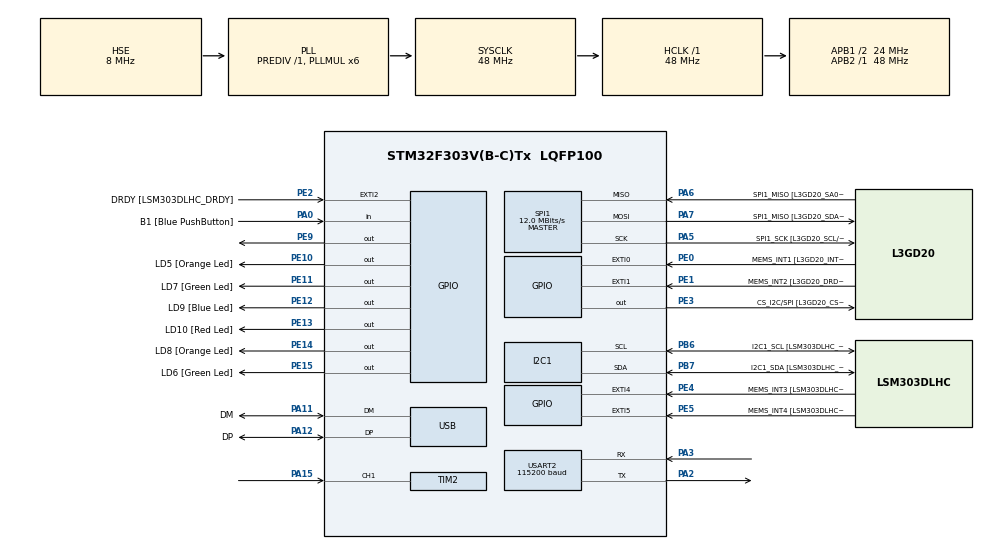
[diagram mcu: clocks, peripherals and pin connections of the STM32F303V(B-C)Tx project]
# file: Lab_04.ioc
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I2C1.Timing=0x00201D2B
I2C1.Timing-I2C=0x2000090E
Mcu.Family=STM32F3
Mcu.Name=STM32F303V(B-C)Tx
Mcu.Package=LQFP100
NVIC.PriorityGroup=NVIC_PRIORITYGROUP_0
NVIC.TIM2_IRQn=true\:0\:0\:false\:false\:true\:true\:true\:true
PA0.GPIO_Label=B1 [Blue PushButton]
PA0.Signal=GPIO_Input
PA11.GPIO_Label=DM
PA11.Mode=Device
PA11.Signal=USB_DM
PA12.GPIO_Label=DP
PA12.Mode=Device
PA12.Signal=USB_DP
PA13.GPIO_Label=SWDIO
PA13.Mode=Serial_Wire
PA13.Signal=SYS_JTMS-SWDIO
PA14.GPIO_Label=SWCLK
PA14.Mode=Serial_Wire
PA14.Signal=SYS_JTCK-SWCLK
PA15.Signal=S_TIM2_CH1_ETR
PA2.Mode=Asynchronous
PA2.Signal=USART2_TX
PA3.Mode=Asynchronous
PA3.Signal=USART2_RX
PA5.GPIO_Label=SPI1_SCK [L3GD20_SCL/SPC]
PA5.Mode=Full_Duplex_Master
PA5.Signal=SPI1_SCK
PA6.GPIO_Label=SPI1_MISO [L3GD20_SA0/SDO]
PA6.Mode=Full_Duplex_Master
PA6.Signal=SPI1_MISO
PA7.GPIO_Label=SPI1_MISO [L3GD20_SDA/SDI/SDO]
PA7.Mode=Full_Duplex_Master
PA7.Signal=SPI1_MOSI
PB3.GPIO_Label=SWO
PB3.Signal=SYS_JTDO-TRACESWO
PB6.GPIO_Label=I2C1_SCL [LSM303DLHC_SCL]
PB6.GPIO_Pu=GPIO_PULLUP
PB6.Mode=I2C
PB6.Signal=I2C1_SCL
PB7.GPIO_Label=I2C1_SDA [LSM303DLHC_SDA]
PB7.GPIO_Pu=GPIO_PULLUP
PB7.Mode=I2C
PB7.Signal=I2C1_SDA
PC14-OSC32_IN.GPIO_Label=OSC32_IN
PC14-OSC32_IN.Signal=RCC_OSC32_IN
PC15-OSC32_OUT.GPIO_Label=OSC32_OUT
PC15-OSC32_OUT.Signal=RCC_OSC32_OUT
PE0.GPIO_Label=MEMS_INT1 [L3GD20_INT1]
PE0.GPIO_ModeDefaultEXTI=GPIO_MODE_EVT_RISING
PE0.Signal=GPXTI0
PE1.GPIO_Label=MEMS_INT2 [L3GD20_DRDY/INT2]
PE1.GPIO_ModeDefaultEXTI=GPIO_MODE_EVT_RISING
PE1.Signal=GPXTI1
PE10.GPIO_Label=LD5 [Orange Led]
PE10.Signal=GPIO_Output
PE11.GPIO_Label=LD7 [Green Led]
PE11.Signal=GPIO_Output
PE12.GPIO_Label=LD9 [Blue Led]
PE12.Signal=GPIO_Output
PE13.GPIO_Label=LD10 [Red Led]
PE13.Signal=GPIO_Output
PE14.GPIO_Label=LD8 [Orange Led]
PE14.Signal=GPIO_Output
PE15.GPIO_Label=LD6 [Green Led]
PE15.Signal=GPIO_Output
PE2.GPIO_Label=DRDY [LSM303DLHC_DRDY]
PE2.GPIO_ModeDefaultEXTI=GPIO_MODE_EVT_RISING
PE2.Signal=GPXTI2
PE3.GPIO_Label=CS_I2C/SPI [L3GD20_CS_I2C/SPI]
PE3.Signal=GPIO_Output
PE4.GPIO_Label=MEMS_INT3 [LSM303DLHC_INT1]
PE4.GPIO_ModeDefaultEXTI=GPIO_MODE_EVT_RISING
PE4.Signal=GPXTI4
PE5.GPIO_Label=MEMS_INT4 [LSM303DLHC_INT2]
PE5.GPIO_ModeDefaultEXTI=GPIO_MODE_EVT_RISING
PE5.Signal=GPXTI5
PE9.Signal=GPIO_Output
PF0-OSC_IN.GPIO_Label=OSC_IN
PF0-OSC_IN.Mode=HSE-External-Clock-Source
PF0-OSC_IN.Signal=RCC_OSC_IN
PF1-OSC_OUT.GPIO_Label=OSC_OUT
PF1-OSC_OUT.Signal=RCC_OSC_OUT
ProjectManager.HeapSize=0x200
ProjectManager.StackSize=0x400
ProjectManager.TargetToolchain=CMake
RCC.AHBFreq_Value=48000000
RCC.APB1CLKDivider=RCC_HCLK_DIV2
RCC.APB1Freq_Value=24000000
RCC.APB1TimFreq_Value=48000000
RCC.APB2Freq_Value=48000000
RCC.APB2TimFreq_Value=48000000
RCC.CortexFreq_Value=48000000
RCC.HCLKFreq_Value=48000000
RCC.HSE_VALUE=8000000
RCC.HSI_VALUE=8000000
RCC.LSE_VALUE=32768
RCC.PLLMUL=RCC_PLL_MUL6
RCC.SYSCLKFreq_VALUE=48000000
RCC.SYSCLKSourceVirtual=RCC_SYSCLKSOURCE_PLLCLK
RCC.USBFreq_Value=48000000
SH.S_TIM2_CH1_ETR.0=TIM2_CH1,Input_Capture1_from_TI1
SPI1.BaudRatePrescaler=SPI_BAUDRATEPRESCALER_4
SPI1.BaudRatePrescaler-Full_Duplex_Master=SPI_BAUDRATEPRESCALER_2
SPI1.CalculateBaudRate=12.0 MBits/s
SPI1.CalculateBaudRate-Full_Duplex_Master=24.0 MBits/s
SPI1.Direction=SPI_DIRECTION_2LINES
SPI1.Mode=SPI_MODE_MASTER
SPI1.Mode-Full_Duplex_Master=SPI_MODE_MASTER
SPI1.VirtualType=VM_MASTER
TIM2.Channel-Input_Capture1_from_TI1=TIM_CHANNEL_1
TIM2.Period=65535
TIM2.Prescaler=47
USART2.BaudRate=115200
USART2.VirtualMode-Asynchronous=VM_ASYNC
VP_TIM2_VS_ClockSourceINT.Mode=Internal
board=STM32F3DISCOVERY

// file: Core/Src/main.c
/* USER CODE BEGIN Header */
/**
  ******************************************************************************
  * @file           : main.c
  * @brief          : Main program body
  ******************************************************************************
  * @attention
  *
  * Copyright (c) 2026 STMicroelectronics.
  * All rights reserved.
  *
  * This software is licensed under terms that can be found in the LICENSE file
  * in the root directory of this software component.
  * If no LICENSE file comes with this software, it is provided AS-IS.
  *
  ******************************************************************************
  */
/* USER CODE END Header */
#include "main.h"
#include <stdio.h>
#include <string.h>
#include <stdarg.h>   // va_list, va_start, va_end

I2C_HandleTypeDef hi2c1;

SPI_HandleTypeDef hspi1;

TIM_HandleTypeDef htim2;

UART_HandleTypeDef huart2;

PCD_HandleTypeDef hpcd_USB_FS;

/* USER CODE BEGIN PV */
extern TIM_HandleTypeDef htim2;
extern UART_HandleTypeDef huart2;   // <-- change if your UART is different

volatile uint32_t last_capture = 0;
volatile uint32_t period_ticks = 0;
volatile float frequency_hz = 0.0f;

#define TIM2_TICK_HZ 1000000UL      // PSC=47 at 48MHz -> 1MHz tick (1 us)

/* USER CODE END PV */

void SystemClock_Config(void);
static void MX_GPIO_Init(void);
static void MX_I2C1_Init(void);
static void MX_SPI1_Init(void);
static void MX_TIM2_Init(void);
static void MX_USB_PCD_Init(void);
static void MX_USART2_UART_Init(void);

/* USER CODE BEGIN 0 */
void myprintf(const char *fmt, ...)
{
  char buffer[128];                 // message buffer
  va_list args;                     // holds variable arguments
  va_start(args, fmt);              // start reading arguments after fmt

  int n = vsnprintf(buffer, sizeof(buffer), fmt, args);
  // vsnprintf writes formatted text into buffer and returns number of chars

  va_end(args);                     // done reading variable arguments

  if (n < 0)
  {
    return;                         // formatting error
  }

  // IMPORTANT: send only the actual message length (not sizeof(buffer))
  // If n is larger than buffer, clamp to buffer size - 1
  if (n > (int)sizeof(buffer) - 1)
  {
    n = (int)sizeof(buffer) - 1;
  }

  HAL_UART_Transmit(&huart2, (uint8_t*)buffer, (uint16_t)n, HAL_MAX_DELAY);
  // transmit formatted string via USART2
}

/* USER CODE END 0 */

//TASK 1----------------------------------------------------------------------------------------------------------
// void delay_ms_tim2(uint32_t ms)
// {
//  __HAL_TIM_SET_COUNTER(&htim2, 0);          // CNT = 0 (start counting from zero)
//  HAL_TIM_Base_Start(&htim2);               // start TIM2 counting (polling, no IRQ)

//  while (__HAL_TIM_GET_COUNTER(&htim2) < ms) // wait until CNT reaches ms
//  {
//               // do nothing (busy wait / polling)
//  }

//  HAL_TIM_Base_Stop(&htim2);                // stop TIM2 to save power (optional)
// }

//TASK 2----------------------------------------------------------------------------------------------------------
// void HAL_TIM_PeriodElapsedCallback(TIM_HandleTypeDef *htim)
// {
//  // Check that the interrupt is from TIM2 (important if multiple timers exist)
//  if (htim->Instance == TIM2)
//  {
//    HAL_GPIO_TogglePin(LD9_GPIO_Port, LD9_Pin);
//    // Toggle LED pin (LD9) every 1 second
//  }
// }

//TASK 3----------------------------------------------------------------------------------------------------------

// void HAL_TIM_PeriodElapsedCallback(TIM_HandleTypeDef *htim)
// {
//  if (htim->Instance == TIM2)
//  {
//    countA++;
//    countB++;
//    countC++;

//    // LED A → 500 ms (1 Hz blink)
//    if (countA >= 500)
//    {
//      HAL_GPIO_TogglePin(LD5_GPIO_Port, LD5_Pin);
//      countA = 0;
//    }

//    // LED B → 200 ms (2.5 Hz blink)
//    if (countB >= 200)
//    {
//      HAL_GPIO_TogglePin(LD9_GPIO_Port, LD9_Pin);
//      countB = 0;
//    }

//    // LED C → 100 ms (5 Hz blink)
//    if (countC >= 100)
//    {
//      HAL_GPIO_TogglePin(LD7_GPIO_Port, LD7_Pin);
//      countC = 0;
//    }
//  }
// }

// extern TIM_HandleTypeDef htim2;

// /* Software counters (in milliseconds) */
// volatile uint32_t countA = 0;
// volatile uint32_t countB = 0;
// volatile uint32_t countC = 0;

//TASK 4----------------------------------------------------------------------------------------------------------
void HAL_TIM_IC_CaptureCallback(TIM_HandleTypeDef *htim)
{
  // confirm this event is from TIM2 and Channel 1
  if (htim->Instance == TIM2 && htim->Channel == HAL_TIM_ACTIVE_CHANNEL_1)
  {
    uint32_t current_capture = HAL_TIM_ReadCapturedValue(htim, TIM_CHANNEL_1);
    // CCR1 contains the timer count value captured at the edge

    // Compute period in ticks with overflow handling
    if (current_capture >= last_capture)
    {
      period_ticks = current_capture - last_capture;
    }
    else
    {
      // Timer wrapped around from ARR to 0 between edges
      period_ticks = (htim->Instance->ARR + 1U - last_capture) + current_capture;
    }

    last_capture = current_capture;

    // Convert ticks -> frequency
    // frequency = tick_hz / period_ticks
    if (period_ticks != 0)
    {
      frequency_hz = (float)TIM2_TICK_HZ / (float)period_ticks;
    }
  }
}

int main(void)
{

  /* MCU Configuration--------------------------------------------------------*/

  /* Reset of all peripherals, Initializes the Flash interface and the Systick. */
  HAL_Init();

  /* Configure the system clock */
  SystemClock_Config();

  /* Initialize all configured peripherals */
  MX_GPIO_Init();
  MX_I2C1_Init();
  MX_SPI1_Init();
  MX_TIM2_Init();
  MX_USB_PCD_Init();
  MX_USART2_UART_Init();

  /* Infinite loop */
  /* USER CODE BEGIN WHILE */

  //TASK 2-------------------------------------------------------------------------------------------------------------------
  //HAL_TIM_Base_Start_IT(&htim2);
  //TASK 4-------------------------------------------------------------------------------------------------------------------
  HAL_TIM_IC_Start_IT(&htim2, TIM_CHANNEL_1);

  while (1)
  {
    //TASK 1------------------------------------------------------------------------------------------------------------------
    // HAL_GPIO_TogglePin(LD9_GPIO_Port, LD9_Pin); // flip LED state (ON->OFF, OFF->ON)
    // delay_ms_tim2(1000);                        // wait 1000 ms = 1 second using TIM2

    //TASK 4------------------------------------------------------------------------------------------------------------------
    // /Copy volatile values to local variables (safer for printing)
    uint32_t p = period_ticks;
    uint32_t  f = frequency_hz;

    // Print results over UART2
    // period is in microseconds because tick = 1 us
    myprintf("Period = %lu us, Frequency = %.2lu Hz\r\n", p, f);

    HAL_Delay(200); // print 5 times per second
  }

  }

  /* USER CODE END 3 */
void SystemClock_Config(void)
{
  RCC_OscInitTypeDef RCC_OscInitStruct = {0};
  RCC_ClkInitTypeDef RCC_ClkInitStruct = {0};
  RCC_PeriphCLKInitTypeDef PeriphClkInit = {0};

  /** Initializes the RCC Oscillators according to the specified parameters
  * in the RCC_OscInitTypeDef structure.
  */
  RCC_OscInitStruct.OscillatorType = RCC_OSCILLATORTYPE_HSI|RCC_OSCILLATORTYPE_HSE;
  RCC_OscInitStruct.HSEState = RCC_HSE_BYPASS;
  RCC_OscInitStruct.HSEPredivValue = RCC_HSE_PREDIV_DIV1;
  RCC_OscInitStruct.HSIState = RCC_HSI_ON;
  RCC_OscInitStruct.HSICalibrationValue = RCC_HSICALIBRATION_DEFAULT;
  RCC_OscInitStruct.PLL.PLLState = RCC_PLL_ON;
  RCC_OscInitStruct.PLL.PLLSource = RCC_PLLSOURCE_HSE;
  RCC_OscInitStruct.PLL.PLLMUL = RCC_PLL_MUL6;
  if (HAL_RCC_OscConfig(&RCC_OscInitStruct) != HAL_OK)
  {
    Error_Handler();
  }

  /** Initializes the CPU, AHB and APB buses clocks
  */
  RCC_ClkInitStruct.ClockType = RCC_CLOCKTYPE_HCLK|RCC_CLOCKTYPE_SYSCLK
                              |RCC_CLOCKTYPE_PCLK1|RCC_CLOCKTYPE_PCLK2;
  RCC_ClkInitStruct.SYSCLKSource = RCC_SYSCLKSOURCE_PLLCLK;
  RCC_ClkInitStruct.AHBCLKDivider = RCC_SYSCLK_DIV1;
  RCC_ClkInitStruct.APB1CLKDivider = RCC_HCLK_DIV2;
  RCC_ClkInitStruct.APB2CLKDivider = RCC_HCLK_DIV1;

  if (HAL_RCC_ClockConfig(&RCC_ClkInitStruct, FLASH_LATENCY_1) != HAL_OK)
  {
    Error_Handler();
  }
  PeriphClkInit.PeriphClockSelection = RCC_PERIPHCLK_USB|RCC_PERIPHCLK_USART2
                              |RCC_PERIPHCLK_I2C1;
  PeriphClkInit.Usart2ClockSelection = RCC_USART2CLKSOURCE_PCLK1;
  PeriphClkInit.I2c1ClockSelection = RCC_I2C1CLKSOURCE_HSI;
  PeriphClkInit.USBClockSelection = RCC_USBCLKSOURCE_PLL;
  if (HAL_RCCEx_PeriphCLKConfig(&PeriphClkInit) != HAL_OK)
  {
    Error_Handler();
  }
}

static void MX_I2C1_Init(void)
{

  hi2c1.Instance = I2C1;
  hi2c1.Init.Timing = 0x00201D2B;
  hi2c1.Init.OwnAddress1 = 0;
  hi2c1.Init.AddressingMode = I2C_ADDRESSINGMODE_7BIT;
  hi2c1.Init.DualAddressMode = I2C_DUALADDRESS_DISABLE;
  hi2c1.Init.OwnAddress2 = 0;
  hi2c1.Init.OwnAddress2Masks = I2C_OA2_NOMASK;
  hi2c1.Init.GeneralCallMode = I2C_GENERALCALL_DISABLE;
  hi2c1.Init.NoStretchMode = I2C_NOSTRETCH_DISABLE;
  if (HAL_I2C_Init(&hi2c1) != HAL_OK)
  {
    Error_Handler();
  }

  /** Configure Analogue filter
  */
  if (HAL_I2CEx_ConfigAnalogFilter(&hi2c1, I2C_ANALOGFILTER_ENABLE) != HAL_OK)
  {
    Error_Handler();
  }

  /** Configure Digital filter
  */
  if (HAL_I2CEx_ConfigDigitalFilter(&hi2c1, 0) != HAL_OK)
  {
    Error_Handler();
  }

}

static void MX_SPI1_Init(void)
{

  /* SPI1 parameter configuration*/
  hspi1.Instance = SPI1;
  hspi1.Init.Mode = SPI_MODE_MASTER;
  hspi1.Init.Direction = SPI_DIRECTION_2LINES;
  hspi1.Init.DataSize = SPI_DATASIZE_4BIT;
  hspi1.Init.CLKPolarity = SPI_POLARITY_LOW;
  hspi1.Init.CLKPhase = SPI_PHASE_1EDGE;
  hspi1.Init.NSS = SPI_NSS_SOFT;
  hspi1.Init.BaudRatePrescaler = SPI_BAUDRATEPRESCALER_4;
  hspi1.Init.FirstBit = SPI_FIRSTBIT_MSB;
  hspi1.Init.TIMode = SPI_TIMODE_DISABLE;
  hspi1.Init.CRCCalculation = SPI_CRCCALCULATION_DISABLE;
  hspi1.Init.CRCPolynomial = 7;
  hspi1.Init.CRCLength = SPI_CRC_LENGTH_DATASIZE;
  hspi1.Init.NSSPMode = SPI_NSS_PULSE_ENABLE;
  if (HAL_SPI_Init(&hspi1) != HAL_OK)
  {
    Error_Handler();
  }

}

static void MX_TIM2_Init(void)
{

  TIM_ClockConfigTypeDef sClockSourceConfig = {0};
  TIM_MasterConfigTypeDef sMasterConfig = {0};
  TIM_IC_InitTypeDef sConfigIC = {0};

  htim2.Instance = TIM2;
  htim2.Init.Prescaler = 47;
  htim2.Init.CounterMode = TIM_COUNTERMODE_UP;
  htim2.Init.Period = 65535;
  htim2.Init.ClockDivision = TIM_CLOCKDIVISION_DIV1;
  htim2.Init.AutoReloadPreload = TIM_AUTORELOAD_PRELOAD_DISABLE;
  if (HAL_TIM_Base_Init(&htim2) != HAL_OK)
  {
    Error_Handler();
  }
  sClockSourceConfig.ClockSource = TIM_CLOCKSOURCE_INTERNAL;
  if (HAL_TIM_ConfigClockSource(&htim2, &sClockSourceConfig) != HAL_OK)
  {
    Error_Handler();
  }
  if (HAL_TIM_IC_Init(&htim2) != HAL_OK)
  {
    Error_Handler();
  }
  sMasterConfig.MasterOutputTrigger = TIM_TRGO_RESET;
  sMasterConfig.MasterSlaveMode = TIM_MASTERSLAVEMODE_DISABLE;
  if (HAL_TIMEx_MasterConfigSynchronization(&htim2, &sMasterConfig) != HAL_OK)
  {
    Error_Handler();
  }
  sConfigIC.ICPolarity = TIM_INPUTCHANNELPOLARITY_RISING;
  sConfigIC.ICSelection = TIM_ICSELECTION_DIRECTTI;
  sConfigIC.ICPrescaler = TIM_ICPSC_DIV1;
  sConfigIC.ICFilter = 0;
  if (HAL_TIM_IC_ConfigChannel(&htim2, &sConfigIC, TIM_CHANNEL_1) != HAL_OK)
  {
    Error_Handler();
  }

}

static void MX_USART2_UART_Init(void)
{

  huart2.Instance = USART2;
  huart2.Init.BaudRate = 115200;
  huart2.Init.WordLength = UART_WORDLENGTH_8B;
  huart2.Init.StopBits = UART_STOPBITS_1;
  huart2.Init.Parity = UART_PARITY_NONE;
  huart2.Init.Mode = UART_MODE_TX_RX;
  huart2.Init.HwFlowCtl = UART_HWCONTROL_NONE;
  huart2.Init.OverSampling = UART_OVERSAMPLING_16;
  huart2.Init.OneBitSampling = UART_ONE_BIT_SAMPLE_DISABLE;
  huart2.AdvancedInit.AdvFeatureInit = UART_ADVFEATURE_NO_INIT;
  if (HAL_UART_Init(&huart2) != HAL_OK)
  {
    Error_Handler();
  }

}

static void MX_USB_PCD_Init(void)
{

  hpcd_USB_FS.Instance = USB;
  hpcd_USB_FS.Init.dev_endpoints = 8;
  hpcd_USB_FS.Init.speed = PCD_SPEED_FULL;
  hpcd_USB_FS.Init.phy_itface = PCD_PHY_EMBEDDED;
  hpcd_USB_FS.Init.low_power_enable = DISABLE;
  hpcd_USB_FS.Init.battery_charging_enable = DISABLE;
  if (HAL_PCD_Init(&hpcd_USB_FS) != HAL_OK)
  {
    Error_Handler();
  }

}

static void MX_GPIO_Init(void)
{
  GPIO_InitTypeDef GPIO_InitStruct = {0};

  /* GPIO Ports Clock Enable */
  __HAL_RCC_GPIOE_CLK_ENABLE();
  __HAL_RCC_GPIOC_CLK_ENABLE();
  __HAL_RCC_GPIOF_CLK_ENABLE();
  __HAL_RCC_GPIOA_CLK_ENABLE();
  __HAL_RCC_GPIOB_CLK_ENABLE();

  /*Configure GPIO pin Output Level */
  HAL_GPIO_WritePin(GPIOE, CS_I2C_SPI_Pin|GPIO_PIN_9|LD5_Pin|LD7_Pin
                          |LD9_Pin|LD10_Pin|LD8_Pin|LD6_Pin, GPIO_PIN_RESET);

  /*Configure GPIO pins : DRDY_Pin MEMS_INT3_Pin MEMS_INT4_Pin MEMS_INT1_Pin
                           MEMS_INT2_Pin */
  GPIO_InitStruct.Pin = DRDY_Pin|MEMS_INT3_Pin|MEMS_INT4_Pin|MEMS_INT1_Pin
                          |MEMS_INT2_Pin;
  GPIO_InitStruct.Mode = GPIO_MODE_EVT_RISING;
  GPIO_InitStruct.Pull = GPIO_NOPULL;
  HAL_GPIO_Init(GPIOE, &GPIO_InitStruct);

  /*Configure GPIO pins : CS_I2C_SPI_Pin PE9 LD5_Pin LD7_Pin
                           LD9_Pin LD10_Pin LD8_Pin LD6_Pin */
  GPIO_InitStruct.Pin = CS_I2C_SPI_Pin|GPIO_PIN_9|LD5_Pin|LD7_Pin
                          |LD9_Pin|LD10_Pin|LD8_Pin|LD6_Pin;
  GPIO_InitStruct.Mode = GPIO_MODE_OUTPUT_PP;
  GPIO_InitStruct.Pull = GPIO_NOPULL;
  GPIO_InitStruct.Speed = GPIO_SPEED_FREQ_LOW;
  HAL_GPIO_Init(GPIOE, &GPIO_InitStruct);

  /*Configure GPIO pin : B1_Pin */
  GPIO_InitStruct.Pin = B1_Pin;
  GPIO_InitStruct.Mode = GPIO_MODE_INPUT;
  GPIO_InitStruct.Pull = GPIO_NOPULL;
  HAL_GPIO_Init(B1_GPIO_Port, &GPIO_InitStruct);

}

void Error_Handler(void)
{
  __disable_irq();
  while (1)
  {
  }
}
